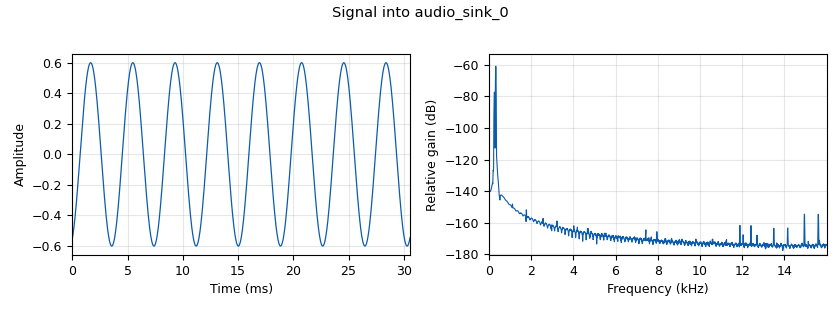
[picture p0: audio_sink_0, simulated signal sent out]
options:
  parameters:
    author: 22b3982_Anupam_Rawat
    generate_options: qt_gui
    id: Q1
    output_language: python
    title: Not titled yet
  states: {}

blocks:
- name: samp_rate
  id: variable
  parameters:
    value: '32000'
  states: {}
- name: audio_sink_0
  id: audio_sink
  parameters:
    samp_rate: samp_rate
  states: {}
- name: blocks_repeat_0
  id: blocks_repeat
  parameters:
    interp: '32000'
    type: float
  states: {}
- name: blocks_vco_f_0
  id: blocks_vco_f
  parameters:
    amplitude: '0.6'
    samp_rate: '32000'
    sensitivity: '6.28'
  states: {}
- name: blocks_vector_source_x_0
  id: blocks_vector_source_x
  parameters:
    repeat: 'True'
    type: float
    vector: (262,262,293,262,349,329,262,262,293,262,392,349,262,262,277,440,349,329,293,466,466,440,349,392,349)
  states: {}

connections:
- [blocks_repeat_0, '0', blocks_vco_f_0, '0']
- [blocks_vco_f_0, '0', audio_sink_0, '0']
- [blocks_vector_source_x_0, '0', blocks_repeat_0, '0']

metadata:
  file_format: 1
  grc_version: 3.10.7.0
